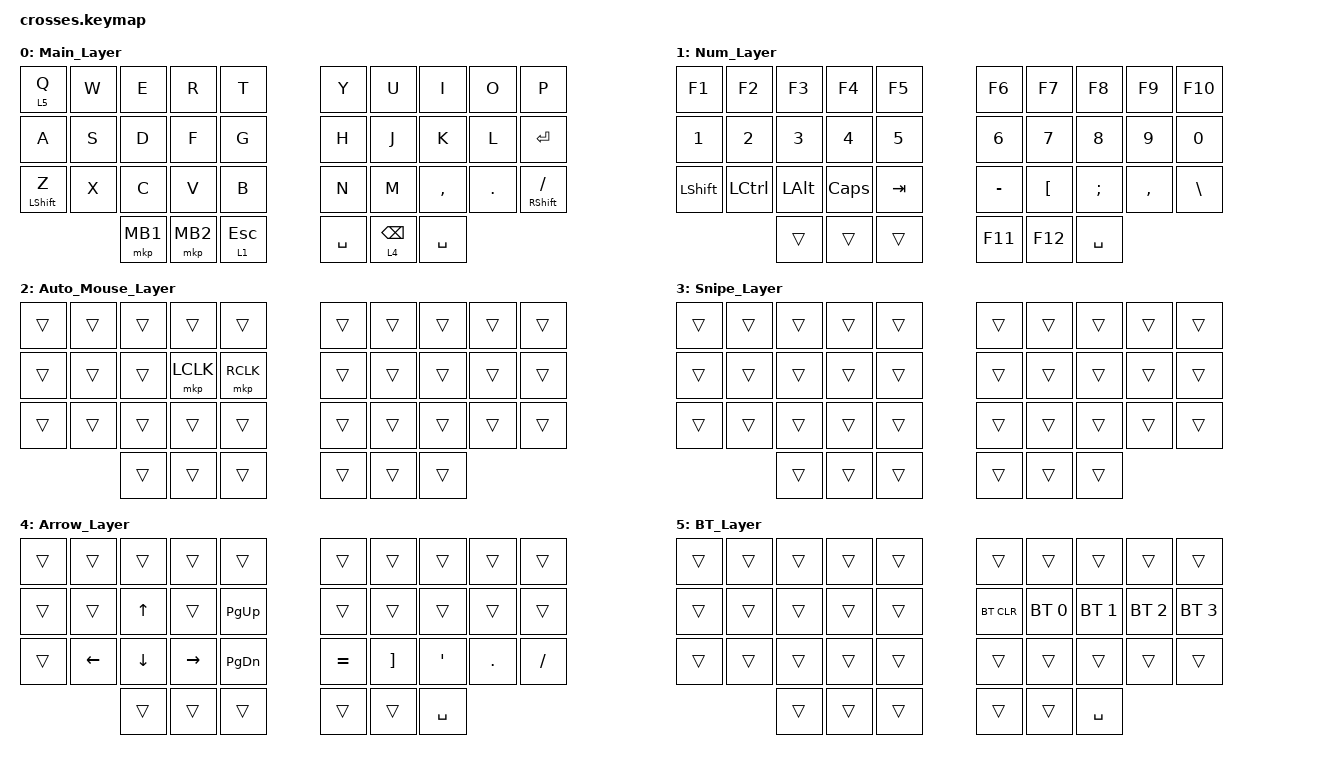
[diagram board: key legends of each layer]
#include <behaviors.dtsi>
#include <dt-bindings/zmk/bt.h>
#include <dt-bindings/zmk/keys.h>
#include <dt-bindings/zmk/pointing.h>

&lt {
    tapping-term-ms = <200>;
    flavor = "balanced";
    quick-tap-ms = <150>;
};

/ {
    behaviors {
        holdtap: holdtap {
            compatible = "zmk,behavior-hold-tap";
            label = "HOLDTAP";
            bindings = <&kp>, <&kp>;

            #binding-cells = <2>;
            tapping-term-ms = <220>;
            flavor = "tap-preferred";
        };
    };

    keymap {
        compatible = "zmk,keymap";

        Main_Layer {
            bindings = <
&lt 5 Q                &kp W  &kp E     &kp R     &kp T        &kp Y      &kp U            &kp I      &kp O    &kp P
&kp A                  &kp S  &kp D     &kp F     &kp G        &kp H      &kp J            &kp K      &kp L    &kp ENTER
&holdtap LEFT_SHIFT Z  &kp X  &kp C     &kp V     &kp B        &kp N      &kp M            &kp COMMA  &kp DOT  &holdtap RIGHT_SHIFT SLASH
                              &mkp MB1  &mkp MB2  &lt 1 ESC    &kp SPACE  &lt 4 BACKSPACE  &kp SPACE
            >;
        };

        Num_Layer {
            bindings = <
&kp F1          &kp F2     &kp F3        &kp F4    &kp F5     &kp F6     &kp F7            &kp F8         &kp F9     &kp F10
&kp N1          &kp N2     &kp N3        &kp N4    &kp N5     &kp N6     &kp N7            &kp N8         &kp N9     &kp N0
&kp LEFT_SHIFT  &kp LCTRL  &kp LEFT_ALT  &kp CAPS  &kp TAB    &kp MINUS  &kp LEFT_BRACKET  &kp SEMICOLON  &kp COMMA  &kp BACKSLASH
                           &trans        &trans    &trans     &kp F11    &kp F12           &kp SPACE
            >;
        };

        Auto_Mouse_Layer {
            bindings = <
&trans  &trans  &trans  &trans     &trans       &trans  &trans  &trans  &trans  &trans
&trans  &trans  &trans  &mkp LCLK  &mkp RCLK    &trans  &trans  &trans  &trans  &trans
&trans  &trans  &trans  &trans     &trans       &trans  &trans  &trans  &trans  &trans
                &trans  &trans     &trans       &trans  &trans  &trans
            >;
        };

        Snipe_Layer {
            bindings = <
&trans  &trans  &trans  &trans  &trans    &trans  &trans  &trans  &trans  &trans
&trans  &trans  &trans  &trans  &trans    &trans  &trans  &trans  &trans  &trans
&trans  &trans  &trans  &trans  &trans    &trans  &trans  &trans  &trans  &trans
                &trans  &trans  &trans    &trans  &trans  &trans
            >;
        };

        Arrow_Layer {
            bindings = <
&trans  &trans          &trans          &trans           &trans           &trans     &trans    &trans     &trans      &trans
&trans  &trans          &kp UP_ARROW    &trans           &kp PAGE_UP      &trans     &trans    &trans     &trans      &trans
&trans  &kp LEFT_ARROW  &kp DOWN_ARROW  &kp RIGHT_ARROW  &kp PAGE_DOWN    &kp EQUAL  &kp RBKT  &kp SQT    &kp PERIOD  &kp SLASH
                        &trans          &trans           &trans           &trans     &trans    &kp SPACE
            >;
        };

        BT_Layer {
            bindings = <
&trans  &trans  &trans  &trans  &trans    &trans      &trans        &trans        &trans        &trans
&trans  &trans  &trans  &trans  &trans    &bt BT_CLR  &bt BT_SEL 0  &bt BT_SEL 1  &bt BT_SEL 2  &bt BT_SEL 3
&trans  &trans  &trans  &trans  &trans    &trans      &trans        &trans        &trans        &trans
                &trans  &trans  &trans    &trans      &trans        &kp SPACE
            >;
        };
    };
};
